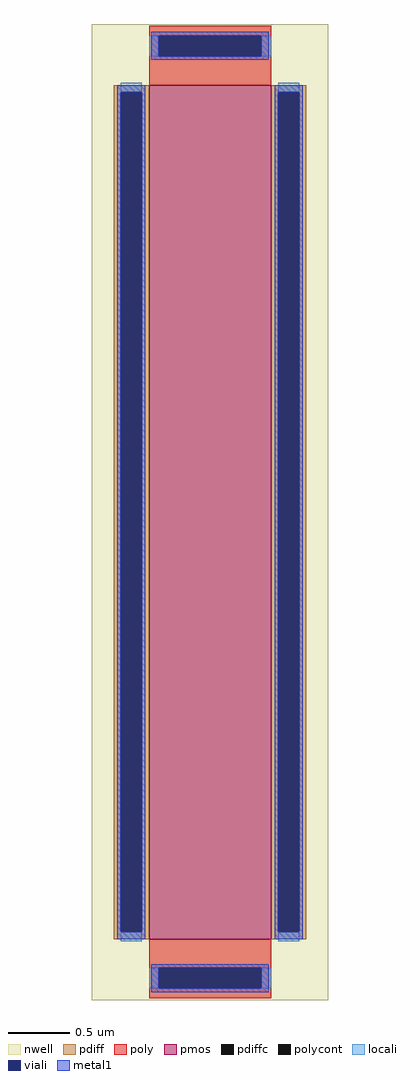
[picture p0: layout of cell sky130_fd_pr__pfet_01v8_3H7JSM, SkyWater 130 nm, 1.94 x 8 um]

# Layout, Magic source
magic
tech sky130A
magscale 1 2
<< nwell >>
rect -194 -800 194 800
<< pmos >>
rect -100 -700 100 700
<< pdiff >>
rect -158 688 -100 700
rect -158 -688 -146 688
rect -112 -688 -100 688
rect -158 -700 -100 -688
rect 100 688 158 700
rect 100 -688 112 688
rect 146 -688 158 688
rect 100 -700 158 -688
<< pdiffc >>
rect -146 -688 -112 688
rect 112 -688 146 688
<< poly >>
rect -100 781 100 797
rect -100 747 -84 781
rect 84 747 100 781
rect -100 700 100 747
rect -100 -747 100 -700
rect -100 -781 -84 -747
rect 84 -781 100 -747
rect -100 -797 100 -781
<< polycont >>
rect -84 747 84 781
rect -84 -781 84 -747
<< locali >>
rect -100 747 -84 781
rect 84 747 100 781
rect -146 688 -112 704
rect -146 -704 -112 -688
rect 112 688 146 704
rect 112 -704 146 -688
rect -100 -781 -84 -747
rect 84 -781 100 -747
<< viali >>
rect -84 747 84 781
rect -146 -688 -112 688
rect 112 -688 146 688
rect -84 -781 84 -747
<< metal1 >>
rect -96 781 96 787
rect -96 747 -84 781
rect 84 747 96 781
rect -96 741 96 747
rect -152 688 -106 700
rect -152 -688 -146 688
rect -112 -688 -106 688
rect -152 -700 -106 -688
rect 106 688 152 700
rect 106 -688 112 688
rect 146 -688 152 688
rect 106 -700 152 -688
rect -96 -747 96 -741
rect -96 -781 -84 -747
rect 84 -781 96 -747
rect -96 -787 96 -781
<< properties >>
string gencell sky130_fd_pr__pfet_01v8
string library sky130
string parameters w 7.0 l 1.0 m 1 nf 1 diffcov 100 polycov 100 guard 0 glc 1 grc 1 gtc 1 gbc 1 tbcov 100 rlcov 100 topc 1 botc 1 poverlap 0 doverlap 1 lmin 0.15 wmin 0.42 compatible {sky130_fd_pr__pfet_01v8  sky130_fd_pr__pfet_01v8_lvt sky130_fd_pr__pfet_01v8_hvt  sky130_fd_pr__pfet_g5v0d10v5} full_metal 1 viasrc 100 viadrn 100 viagate 100 viagb 0 viagr 0 viagl 0 viagt 0
<< end >>
